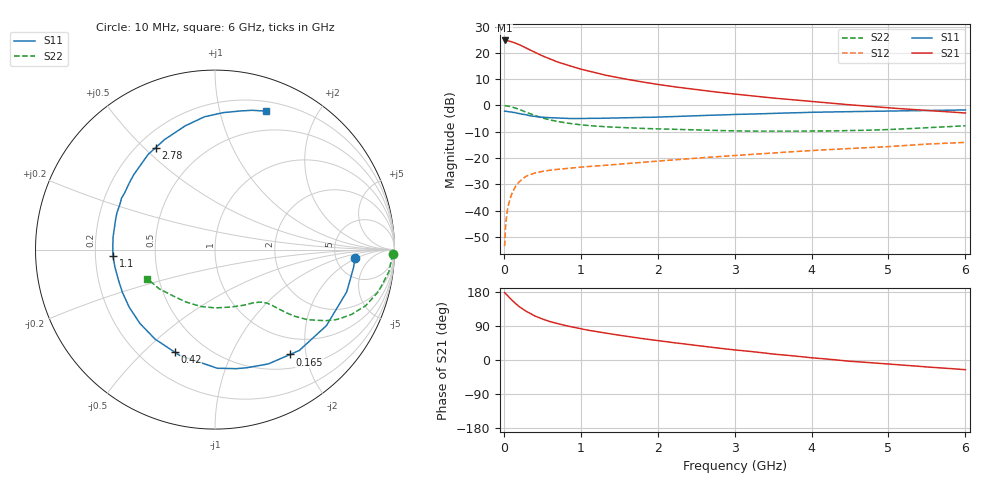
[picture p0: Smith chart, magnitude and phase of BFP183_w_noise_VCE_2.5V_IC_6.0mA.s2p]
! Infineon Technologies  Discrete & RF Semiconductors
! BFP183
! VCE = 2.5 V,  IC =  6.0 mA
! Common Emitter S-Parameters:  Jan 2016
# GHz  S  MA  R  50
!  f  S11  S21  S12  S22
! GHz  MAG  ANG  MAG  ANG  MAG  ANG  MAG  ANG
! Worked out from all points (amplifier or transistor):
!   210 points, 10 MHz to 6 GHz, reference 50 ohm
!   highest |S21| = 24.7 dB at 10 MHz (marker M1)
!   |S21| within 3 dB of that: start of sweep to 299.4 MHz
!   unconditionally stable (mu >= 1): 1.423 GHz to 5.625 GHz
!   at 185 MHz: K = 0.18, MSG = 26.5 dB, |S12| = -29.6 dB
!   at 1.52 GHz: K = 1.03, MAG = 15.3 dB, |S12| = -22.3 dB
!   at 6 GHz: K = 0.95, MSG = 5.6 dB, |S12| = -14.1 dB
!   lowest NFmin = 1.20 dB at 450 MHz
!   S11 on the Smith chart (normalised r, x): 10 MHz: 7.67, -1.88; 165 MHz: 0.71, -1.72; 420 MHz: 0.34, -0.63; 1.1 GHz: 0.27, -0.03; 2.78 GHz: 0.27, +0.54; 6 GHz: 0.29, +1.39
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0.01  0.7812 -3.5  17.28 177.9  0.0021 78.2  0.9908 -1.5
0.05  0.7708 -17.8  17.13 169.1  0.011 84.0  0.9764 -7.3
0.1  0.7517 -34.3  16.36 159.0  0.0201 73.0  0.9408 -14.3
0.165  0.7186 -54.4  15.08 146.9  0.0305 63.8  0.8791 -21.8
0.2  0.7031 -64.9  14.44 140.8  0.0352 59.9  0.8422 -25.4
0.26  0.674 -79.8  13.04 132.3  0.0419 53.7  0.7753 -30.3
0.3  0.6612 -88.9  12.22 127.4  0.0458 50.0  0.7334 -32.7
0.4  0.6213 -108.6  10.36 116.3  0.0516 43.8  0.6476 -37.1
0.42  0.6137 -111.5  10.04 114.8  0.0524 42.8  0.6338 -37.6
0.5  0.6003 -123.8  8.818 108.0  0.0556 39.3  0.5794 -39.9
0.6  0.5866 -135.6  7.7 101.4  0.0587 37.1  0.5299 -41.6
0.68  0.5762 -144.1  6.902 97.1  0.0606 35.6  0.5019 -42.4
0.8  0.5683 -155.1  6.026 90.8  0.0631 34.1  0.4679 -43.5
1.02  0.5663 -171.5  4.838 81.6  0.0674 33.2  0.4254 -45.3
1.1  0.5698 -176.5  4.521 78.4  0.0689 33.4  0.4146 -45.9
1.5  0.5777 164.0  3.354 65.3  0.0766 33.7  0.382 -50.0
2.02  0.6034 143.0  2.49 50.7  0.0878 34.4  0.3579 -57.6
2.78  0.6567 120.3  1.791 31.5  0.1064 33.9  0.334 -72.6
3.1  0.6792 112.4  1.593 24.7  0.1143 33.2  0.3268 -80.0
4.1  0.7454 93.0  1.158 4.3  0.1413 29.1  0.3263 -107.0
5.1  0.7868 79.2  0.881 -12.2  0.1687 24.3  0.3529 -134.8
6  0.8214 69.9  0.719 -25.6  0.1983 17.2  0.4107 -156.8
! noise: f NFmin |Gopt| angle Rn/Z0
0.45  1.2  0.21  41  0.24
0.9  1.25  0.24  101  0.21
1.8  2  0.32  175  0.14
